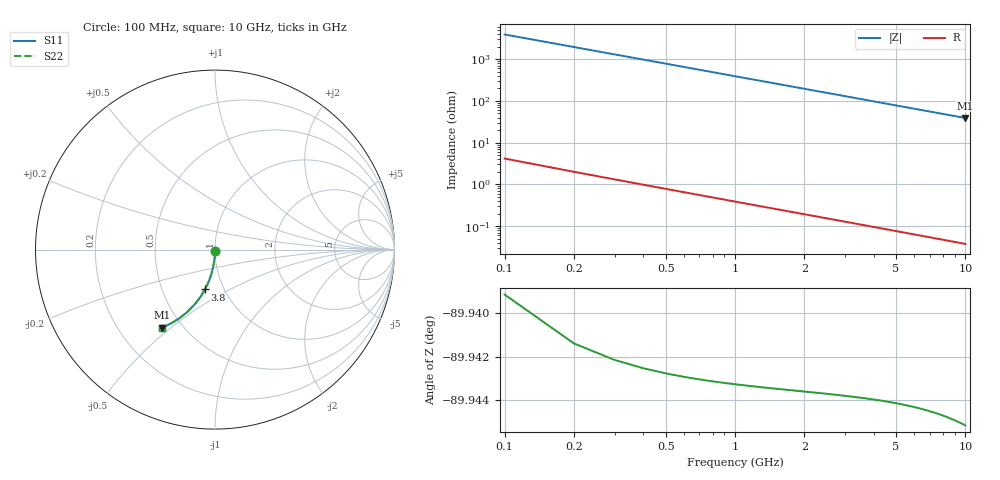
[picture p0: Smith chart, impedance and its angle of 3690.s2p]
# Hz S RI R 50.00
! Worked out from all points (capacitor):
!   100 points, 100 MHz to 10 GHz, reference 50 ohm
!   read as one part in shunt: C = 407 fF near 100 MHz
!   lowest |Z| = 39 ohm at 10 GHz (marker M1)
!   S11 on the Smith chart (normalised r, x): 100 MHz: 1.00, -0.01; 3.8 GHz: 0.81, -0.38; 10 GHz: 0.39, -0.46
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1e8  -3.13e-06 -0.00618  0.9999 -0.0066  0.9999 -0.0066  -3.13e-06 -0.00618
2e8  -0.000132 -0.0124  0.9998 -0.0132  0.9998 -0.0132  -0.000132 -0.0124
3e8  -0.000342 -0.0185  0.9996 -0.0198  0.9996 -0.0198  -0.000342 -0.0185
4e8  -0.000633 -0.0247  0.9993 -0.0264  0.9993 -0.0264  -0.000633 -0.0247
5e8  -0.00101 -0.0309  0.9989 -0.033  0.9989 -0.033  -0.00101 -0.0309
6e8  -0.00146 -0.037  0.9984 -0.0396  0.9984 -0.0396  -0.00146 -0.037
7e8  -0.002 -0.0432  0.9979 -0.0461  0.9979 -0.0461  -0.002 -0.0432
8e8  -0.00261 -0.0493  0.9973 -0.0527  0.9973 -0.0527  -0.00261 -0.0493
9e8  -0.00331 -0.0555  0.9966 -0.0593  0.9966 -0.0593  -0.00331 -0.0555
1.1e9  -0.00495 -0.0677  0.995 -0.0723  0.995 -0.0723  -0.00495 -0.0677
1.4e9  -0.008 -0.0859  0.9919 -0.0918  0.9919 -0.0918  -0.008 -0.0859
1.8e9  -0.0132 -0.1099  0.9867 -0.1175  0.9867 -0.1175  -0.0132 -0.1099
2.1e9  -0.0178 -0.1277  0.982 -0.1365  0.982 -0.1365  -0.0178 -0.1277
2.5e9  -0.0251 -0.1509  0.9747 -0.1615  0.9747 -0.1615  -0.0251 -0.1509
2.9e9  -0.0335 -0.1736  0.9663 -0.1859  0.9663 -0.1859  -0.0335 -0.1736
3.4e9  -0.0456 -0.2011  0.9542 -0.2155  0.9542 -0.2155  -0.0456 -0.2011
3.8e9  -0.0564 -0.2223  0.9434 -0.2384  0.9434 -0.2384  -0.0564 -0.2223
4.4e9  -0.0742 -0.2525  0.9255 -0.2713  0.9255 -0.2713  -0.0742 -0.2525
5.1e9  -0.0975 -0.2854  0.9022 -0.3072  0.9022 -0.3072  -0.0975 -0.2854
6.7e9  -0.1578 -0.3499  0.8417 -0.3786  0.8417 -0.3786  -0.1578 -0.3499
8.4e9  -0.2284 -0.4014  0.7709 -0.4377  0.7709 -0.4377  -0.2284 -0.4014
1e10  -0.2965 -0.4347  0.7024 -0.4782  0.7024 -0.4782  -0.2965 -0.4347
